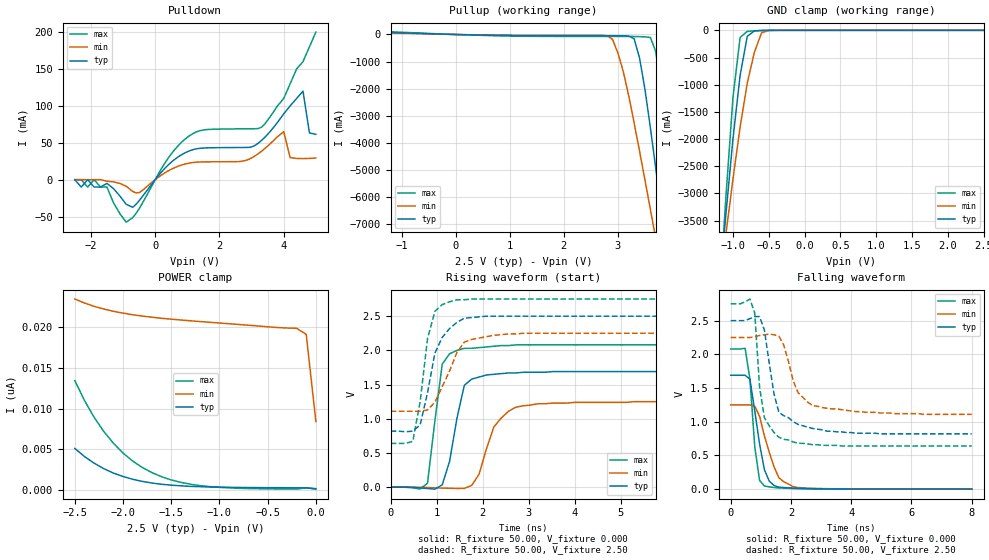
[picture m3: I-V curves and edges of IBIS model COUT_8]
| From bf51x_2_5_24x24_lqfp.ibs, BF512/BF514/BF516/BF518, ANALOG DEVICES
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|   Model prw0408swcdg_25
[Model]   COUT_8
Model_type   I/O
Polarity   Non-Inverting
Enable   Active-Low
Vinl =   0.70V
Vinh =   1.70V
Vmeas =   1.20V
Cref =  50.00pF
Rref =   1.00M
Vref =  0.000V
C_comp   4.88pF   4.39pF   5.37pF
[Temperature Range]   25.00   0.12k   -40.00
[Voltage Range]   2.50V   2.25V   2.75V
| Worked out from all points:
|   slope of the pulldown table from 0 to 0.375 V, typ, clamps not added: 20.2 ohm
|   slope of the pullup table from 0 to 0.375 V, typ, clamps not added: 20.2 ohm
|   GND clamp passes 1 mA (typ) near -0.53 V on its own axis
|   rising waveform, R_fixture 50.00, V_fixture 0.000: 20-80 % time 293ps typ, 442ps min, 231ps max; typ from 0 V to 1.69 V
|   rising waveform, R_fixture 50.00, V_fixture 2.50: 20-80 % time 378ps typ, 467ps min, 275ps max; typ from 0.82 V to 2.5 V
|   falling waveform, R_fixture 50.00, V_fixture 0.000: 20-80 % time 365ps typ, 516ps min, 240ps max; typ from 1.69 V to 0 V
|   falling waveform, R_fixture 50.00, V_fixture 2.50: 20-80 % time 407ps typ, 615ps min, 278ps max; typ from 2.5 V to 0.82 V
[Pulldown]
| voltage   I(typ)   I(min)   I(max)
-2.5V     0A         0A         0A
-1.5V     -5mA       -2mA       -10mA
-900mV    -33.4mA    -9mA       -57.6mA
-500mV    -28.54mA   -17.58mA   -39.44mA
1V        37.88mA    21.94mA    57.43mA
3V        44.3mA     29.45mA    69.02mA
3.4V      56.95mA    41.79mA    74.82mA
4V        89.19mA    65.09mA    110mA
4.2V      100mA      29.92mA    130mA
4.6V      120mA      28.6mA     160mA
4.8V      63.36mA    28.84mA    180mA
5V        61.44mA    29.36mA    200mA
[Pullup]
| voltage   I(typ)   I(min)   I(max)
-2.5V     14.15mA    2.47mA     45.09mA
2.8V      -46.96mA   -42.82mA   -72.11mA
2.9V      -47.06mA   -180mA     -72.23mA
3V        -47.56mA   -690mA     -72.33mA
3.3V      -160mA     -3.28A     -74.26mA
3.4V      -880mA     -4.32A     -79.19mA
3.6V      -3.46A     -6.47A     -110mA
3.7V      -4.96A     -7.56A     -640mA
3.8V      -6.5A      -8.65A     -2.2A
4V        -9.62A     -10.85A    -6.34A
4.2V      -12.77A    -13.07A    -10.72A
5V        -25.49A    -21.97A    -28.57A
[GND_clamp]
| voltage   I(typ)   I(min)   I(max)
-2.5V     -25.44A    -19.16A    -34.1A
-1.2V     -4.91A     -4.82A     -5.19A
-1.1V     -3.41A     -3.77A     -3.1A
-1V       -2A        -2.74A     -1.24A
-900mV    -830mA     -1.78A     -130mA
-800mV    -110mA     -970mA     -19.37mA
-700mV    -10.09mA   -400mA     -9.85mA
-600mV    -2.6mA     -44.25mA   -3.52mA
-500mV    -460uA     -4.5mA     -550uA
2.5V      210pA      19.84nA    120pA
[POWER_clamp]
| voltage   I(typ)   I(min)   I(max)
-2.5V     5.13nA     23.39nA    13.41nA
-2.4V     4.13nA     22.91nA    10.99nA
-2.3V     3.32nA     22.5nA     8.93nA
-2.1V     2.11nA     21.9nA     5.76nA
-1.9V     1.35nA     21.47nA    3.58nA
-1.7V     890pA      21.17nA    2.16nA
-1.5V     630pA      20.93nA    1.27nA
-1.2V     440pA      20.64nA    570pA
-800mV    350pA      20.28nA    250pA
-200mV    300pA      19.82nA    150pA
-100mV    300pA      19.07nA    310pA
0V        210pA      8.42nA     140pA
[Ramp]
| variable   typ   min   max
dV/dt_r   1.02/0.28n   0.75/0.48n   1.25/0.19n
dV/dt_f   1.01/0.41n   0.68/0.64n   1.27/0.27n
R_load = 50.00
[Rising Waveform]
R_fixture = 50.00
V_fixture = 0.000
V_fixture_min = 0.000
V_fixture_max = 0.000
L_fixture = 0.000H
C_fixture = 0.000F
| time   V(typ)   V(min)   V(max)
0s        0V         0V         0V
800ps     -19.66mV   -4.22mV    58.52mV
1.12ns    34.53mV    -13.27mV   1.8V
1.28ns    380mV      -16.03mV   1.95V
1.44ns    1.01V      -18.82mV   2V
1.6ns     1.49V      -17.72mV   2.03V
1.76ns    1.58V      25.74mV    2.03V
2.24ns    1.65V      880mV      2.06V
2.72ns    1.67V      1.17V      2.08V
8ns       1.69V      1.25V      2.08V
[Rising Waveform]
R_fixture = 50.00
V_fixture = 2.50
V_fixture_min = 2.25
V_fixture_max = 2.75
L_fixture = 0.000H
C_fixture = 0.000F
| time   V(typ)   V(min)   V(max)
0s        820mV      1.11V      640mV
480ps     820mV      1.11V      670mV
640ps     910mV      1.11V      1.25V
800ps     1.38V      1.13V      2.17V
960ps     1.96V      1.24V      2.57V
1.12ns    2.19V      1.47V      2.67V
1.44ns    2.41V      1.97V      2.74V
1.6ns     2.47V      2.12V      2.74V
2.24ns    2.5V       2.22V      2.75V
8ns       2.5V       2.25V      2.75V
[Falling Waveform]
R_fixture = 50.00
V_fixture = 0.000
V_fixture_min = 0.000
V_fixture_max = 0.000
L_fixture = 0.000H
C_fixture = 0.000F
| time   V(typ)   V(min)   V(max)
0s        1.69V      1.25V      2.08V
480ps     1.69V      1.25V      2.09V
640ps     1.63V      1.25V      1.63V
800ps     1.16V      1.23V      630mV
960ps     670mV      1.08V      130mV
1.12ns    290mV      790mV      47.78mV
1.28ns    120mV      550mV      34.16mV
1.6ns     30.38mV    170mV      18.35mV
2.08ns    15.27mV    35.65mV    9.44mV
8ns       52.44uV    76.56uV    -10.78uV
[Falling Waveform]
R_fixture = 50.00
V_fixture = 2.50
V_fixture_min = 2.25
V_fixture_max = 2.75
L_fixture = 0.000H
C_fixture = 0.000F
| time   V(typ)   V(min)   V(max)
0s        2.5V       2.25V      2.75V
640ps     2.53V      2.25V      2.82V
800ps     2.56V      2.26V      2.61V
960ps     2.56V      2.28V      1.51V
1.12ns    2.36V      2.29V      1.06V
1.44ns    1.41V      2.29V      840mV
1.6ns     1.14V      2.27V      770mV
2.24ns    960mV      1.43V      680mV
2.72ns    900mV      1.24V      660mV
8ns       820mV      1.11V      640mV
